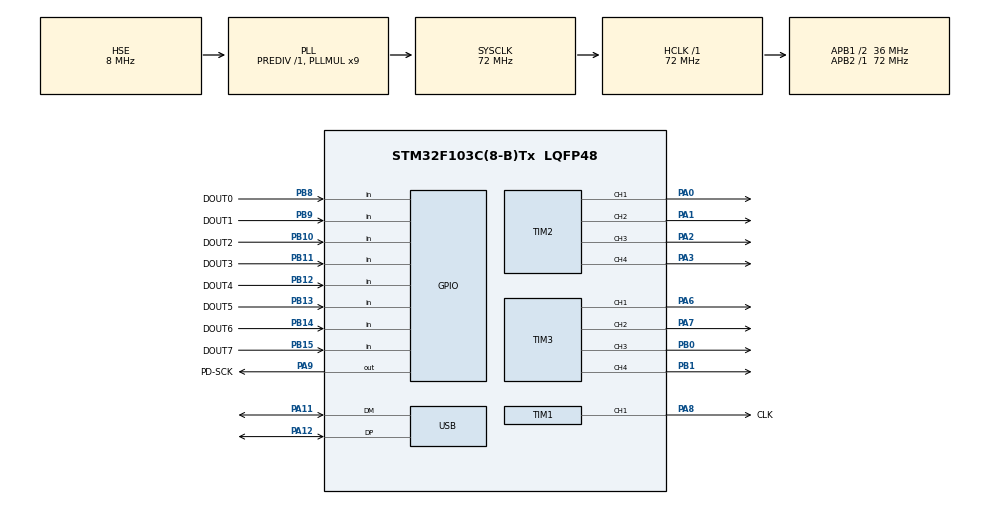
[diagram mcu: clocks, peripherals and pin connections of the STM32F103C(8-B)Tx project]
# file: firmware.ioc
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Mcu.Family=STM32F1
Mcu.Name=STM32F103C(8-B)Tx
Mcu.Package=LQFP48
NVIC.PriorityGroup=NVIC_PRIORITYGROUP_4
NVIC.USB_LP_CAN1_RX0_IRQn=true\:0\:0\:false\:false\:true\:false\:true\:true
PA0-WKUP.Signal=S_TIM2_CH1_ETR
PA1.Signal=S_TIM2_CH2
PA11.Mode=Device
PA11.Signal=USB_DM
PA12.Mode=Device
PA12.Signal=USB_DP
PA13.Mode=Trace_Asynchronous_SW
PA13.Signal=SYS_JTMS-SWDIO
PA14.Mode=Trace_Asynchronous_SW
PA14.Signal=SYS_JTCK-SWCLK
PA2.Signal=S_TIM2_CH3
PA3.Signal=S_TIM2_CH4
PA6.Signal=S_TIM3_CH1
PA7.Signal=S_TIM3_CH2
PA8.GPIO_Label=CLK
PA8.Signal=S_TIM1_CH1
PA9.GPIO_Label=PD-SCK
PA9.Signal=GPIO_Output
PB0.Signal=S_TIM3_CH3
PB1.Signal=S_TIM3_CH4
PB10.GPIO_Label=DOUT2
PB10.Signal=GPIO_Input
PB11.GPIO_Label=DOUT3
PB11.Signal=GPIO_Input
PB12.GPIO_Label=DOUT4
PB12.Signal=GPIO_Input
PB13.GPIO_Label=DOUT5
PB13.Signal=GPIO_Input
PB14.GPIO_Label=DOUT6
PB14.Signal=GPIO_Input
PB15.GPIO_Label=DOUT7
PB15.Signal=GPIO_Input
PB3.Mode=Trace_Asynchronous_SW
PB3.Signal=SYS_JTDO-TRACESWO
PB8.GPIO_Label=DOUT0
PB8.Signal=GPIO_Input
PB9.GPIO_Label=DOUT1
PB9.Signal=GPIO_Input
PD0-OSC_IN.Mode=HSE-External-Oscillator
PD0-OSC_IN.Signal=RCC_OSC_IN
PD1-OSC_OUT.Mode=HSE-External-Oscillator
PD1-OSC_OUT.Signal=RCC_OSC_OUT
ProjectManager.HeapSize=0x200
ProjectManager.StackSize=0x400
ProjectManager.TargetToolchain=Makefile
RCC.AHBFreq_Value=72000000
RCC.APB1CLKDivider=RCC_HCLK_DIV2
RCC.APB1Freq_Value=36000000
RCC.APB1TimFreq_Value=72000000
RCC.APB2Freq_Value=72000000
RCC.APB2TimFreq_Value=72000000
RCC.HCLKFreq_Value=72000000
RCC.PLLMUL=RCC_PLL_MUL9
RCC.SYSCLKFreq_VALUE=72000000
RCC.SYSCLKSource=RCC_SYSCLKSOURCE_PLLCLK
RCC.USBFreq_Value=48000000
RCC.USBPrescaler=RCC_USBCLKSOURCE_PLL_DIV1_5
SH.S_TIM1_CH1.0=TIM1_CH1,PWM Generation1 CH1
SH.S_TIM2_CH1_ETR.0=TIM2_CH1,PWM Generation1 CH1
SH.S_TIM2_CH2.0=TIM2_CH2,PWM Generation2 CH2
SH.S_TIM2_CH3.0=TIM2_CH3,PWM Generation3 CH3
SH.S_TIM2_CH4.0=TIM2_CH4,PWM Generation4 CH4
SH.S_TIM3_CH1.0=TIM3_CH1,PWM Generation1 CH1
SH.S_TIM3_CH2.0=TIM3_CH2,PWM Generation2 CH2
SH.S_TIM3_CH3.0=TIM3_CH3,PWM Generation3 CH3
SH.S_TIM3_CH4.0=TIM3_CH4,PWM Generation4 CH4
TIM1.AutoReloadPreload=TIM_AUTORELOAD_PRELOAD_ENABLE
TIM1.Channel-PWM\ Generation1\ CH1=TIM_CHANNEL_1
TIM1.Period=1
TIM1.Pulse-PWM\ Generation1\ CH1=1
TIM2.AutoReloadPreload=TIM_AUTORELOAD_PRELOAD_ENABLE
TIM2.Channel-PWM\ Generation1\ CH1=TIM_CHANNEL_1
TIM2.Channel-PWM\ Generation2\ CH2=TIM_CHANNEL_2
TIM2.Channel-PWM\ Generation3\ CH3=TIM_CHANNEL_3
TIM2.Channel-PWM\ Generation4\ CH4=TIM_CHANNEL_4
TIM3.AutoReloadPreload=TIM_AUTORELOAD_PRELOAD_ENABLE
TIM3.Channel-PWM\ Generation1\ CH1=TIM_CHANNEL_1
TIM3.Channel-PWM\ Generation2\ CH2=TIM_CHANNEL_2
TIM3.Channel-PWM\ Generation3\ CH3=TIM_CHANNEL_3
TIM3.Channel-PWM\ Generation4\ CH4=TIM_CHANNEL_4
USB_DEVICE.CLASS_NAME_FS=CDC
USB_DEVICE.MANUFACTURER_STRING=STMicroelectronics
USB_DEVICE.VirtualMode=Cdc
USB_DEVICE.VirtualModeFS=Cdc_FS
VP_CRC_VS_CRC.Mode=CRC_Activate
VP_TIM1_VS_ClockSourceINT.Mode=Internal
VP_TIM2_VS_ClockSourceINT.Mode=Internal
VP_TIM3_VS_ClockSourceINT.Mode=Internal
VP_USB_DEVICE_VS_USB_DEVICE_CDC_FS.Mode=CDC_FS
board=custom

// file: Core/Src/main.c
/* USER CODE BEGIN Header */
/**
  ******************************************************************************
  * @file           : main.c
  * @brief          : Main program body
  ******************************************************************************
  * @attention
  *
  * Copyright (c) 2024 STMicroelectronics.
  * All rights reserved.
  *
  * This software is licensed under terms that can be found in the LICENSE file
  * in the root directory of this software component.
  * If no LICENSE file comes with this software, it is provided AS-IS.
  *
  ******************************************************************************
  */
/* USER CODE END Header */
#include "main.h"
#include "crc.h"
#include "tim.h"
#include "usb_device.h"
#include "gpio.h"

/* USER CODE BEGIN Includes */
#include "usbd_cdc_if.h"
#include "hx711.h"
#include "stm32f1xx_hal_crc.h"
#include "valve.h"
/* USER CODE END Includes */

void SystemClock_Config(void);

/* USER CODE BEGIN 0 */
volatile uint32_t crc1, crc2;

struct TxStruct tx_data = {};

uint32_t crc32_native(uint32_t *bfr, int len_words, int clear) {
    uint32_t *bfr2 = bfr;
    int len_words_2 = len_words;
    if(clear)
    {
        __HAL_CRC_DR_RESET(&hcrc);
    }

    while(len_words--)
    {
        uint32_t buf_val = *bfr++;

        hcrc.Instance->DR = __REV(buf_val);
    }
    hcrc.State = HAL_CRC_STATE_READY;

    return hcrc.Instance->DR;
}

void build_tx_data(void) {
  for(uint8_t channel = 0; channel < 8; channel++) {
    tx_data.pressures[channel] = hx711_get_kpa(channel);
  }

  uint32_t crc = crc32_native((uint32_t*) &tx_data, sizeof(struct TxStruct) / 4 - 1, 1);
  tx_data.crc = crc;
}

#define TX_BUF_LEN sizeof(tx_data)

volatile float tick_rate;
uint32_t loop_count;

/* USER CODE END 0 */

int main(void)
{

  /* MCU Configuration--------------------------------------------------------*/

  /* Reset of all peripherals, Initializes the Flash interface and the Systick. */
  HAL_Init();

  /* Configure the system clock */
  SystemClock_Config();

  /* Initialize all configured peripherals */
  MX_GPIO_Init();
  MX_TIM1_Init();
  MX_TIM2_Init();
  MX_TIM3_Init();
  MX_USB_DEVICE_Init();
  MX_CRC_Init();
  /* USER CODE BEGIN 2 */
  valve_init();

  HAL_TIM_PWM_Start(&htim1, TIM_CHANNEL_1);

  hx711_initialize(GAIN_32_PULSES);
  hx711_zero();

  tx_data.magic[0] = 'P';
  tx_data.magic[1] = 'R';
  tx_data.magic[2] = 'Z';
  tx_data.magic[3] = 'L';

  // uint32_t switch_time = 10;
  // while(switch_time > 5) {
  //   for(uint8_t j = 0; j < 64; ++j) {
  //     valve_states[0] = 1;
  //     HAL_Delay(switch_time);
  //     valve_states[0] = 0;
  //     HAL_Delay(switch_time);
  //   }

  //   HAL_Delay(500);
  //   switch_time -= 1;
  // }

  /* USER CODE END 2 */

  /* Infinite loop */
  /* USER CODE BEGIN WHILE */
  while (1)
  {
    hx711_read();

    build_tx_data();

    CDC_Transmit_FS((uint8_t*)&tx_data, TX_BUF_LEN);

    float p0 = hx711_get_kpa(0);

    float hyst_on = 0.2;
    float hyst_off = 0.2;

    float target = 4.5;

    // fill valve
    if(p0 < target - hyst_on ) {
      valve_states[0] = 1; // open
    } else if (p0 > target - hyst_off) {
      valve_states[0] = 0; // close
    }

    // drain valve
    if(p0 < target + hyst_off) {
      valve_states[1] = 0; // close
    } else if (p0 > target + hyst_on) {
      valve_states[1] = 1; // open
    }

    loop_count++;
    tick_rate = (float)(HAL_GetTick()) / (float)loop_count;

    /* USER CODE END WHILE */

  }
}

void SystemClock_Config(void)
{
  RCC_OscInitTypeDef RCC_OscInitStruct = {0};
  RCC_ClkInitTypeDef RCC_ClkInitStruct = {0};
  RCC_PeriphCLKInitTypeDef PeriphClkInit = {0};

  /** Initializes the RCC Oscillators according to the specified parameters
  * in the RCC_OscInitTypeDef structure.
  */
  RCC_OscInitStruct.OscillatorType = RCC_OSCILLATORTYPE_HSE;
  RCC_OscInitStruct.HSEState = RCC_HSE_ON;
  RCC_OscInitStruct.HSEPredivValue = RCC_HSE_PREDIV_DIV1;
  RCC_OscInitStruct.HSIState = RCC_HSI_ON;
  RCC_OscInitStruct.PLL.PLLState = RCC_PLL_ON;
  RCC_OscInitStruct.PLL.PLLSource = RCC_PLLSOURCE_HSE;
  RCC_OscInitStruct.PLL.PLLMUL = RCC_PLL_MUL9;
  if (HAL_RCC_OscConfig(&RCC_OscInitStruct) != HAL_OK)
  {
    Error_Handler();
  }

  /** Initializes the CPU, AHB and APB buses clocks
  */
  RCC_ClkInitStruct.ClockType = RCC_CLOCKTYPE_HCLK|RCC_CLOCKTYPE_SYSCLK
                              |RCC_CLOCKTYPE_PCLK1|RCC_CLOCKTYPE_PCLK2;
  RCC_ClkInitStruct.SYSCLKSource = RCC_SYSCLKSOURCE_PLLCLK;
  RCC_ClkInitStruct.AHBCLKDivider = RCC_SYSCLK_DIV1;
  RCC_ClkInitStruct.APB1CLKDivider = RCC_HCLK_DIV2;
  RCC_ClkInitStruct.APB2CLKDivider = RCC_HCLK_DIV1;

  if (HAL_RCC_ClockConfig(&RCC_ClkInitStruct, FLASH_LATENCY_2) != HAL_OK)
  {
    Error_Handler();
  }
  PeriphClkInit.PeriphClockSelection = RCC_PERIPHCLK_USB;
  PeriphClkInit.UsbClockSelection = RCC_USBCLKSOURCE_PLL_DIV1_5;
  if (HAL_RCCEx_PeriphCLKConfig(&PeriphClkInit) != HAL_OK)
  {
    Error_Handler();
  }
}

void Error_Handler(void)
{
  __disable_irq();
  while (1)
  {
  }
}
